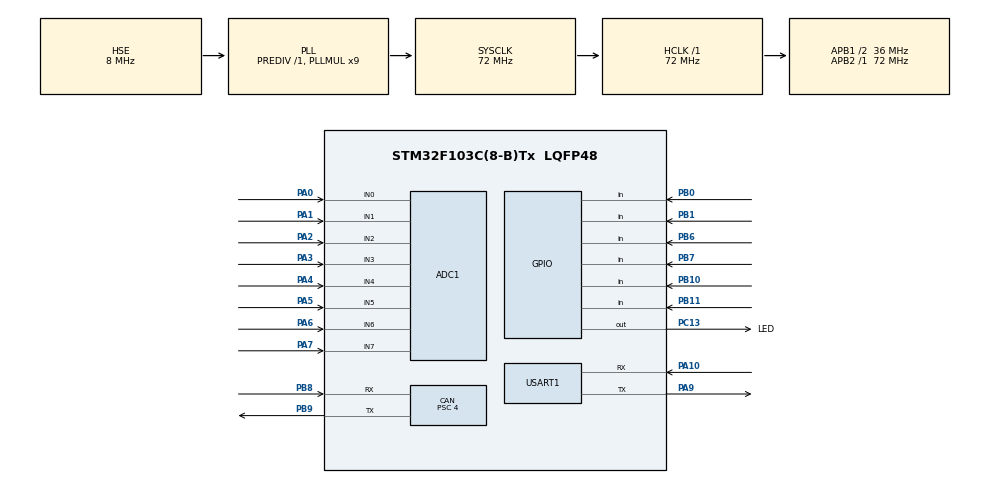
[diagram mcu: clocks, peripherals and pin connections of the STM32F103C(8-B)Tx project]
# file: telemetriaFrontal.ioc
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ADC1.Channel-0\#ChannelRegularConversion=ADC_CHANNEL_0
ADC1.Channel-1\#ChannelRegularConversion=ADC_CHANNEL_0
ADC1.Channel-2\#ChannelRegularConversion=ADC_CHANNEL_0
ADC1.Channel-3\#ChannelRegularConversion=ADC_CHANNEL_0
ADC1.Channel-4\#ChannelRegularConversion=ADC_CHANNEL_0
ADC1.Channel-5\#ChannelRegularConversion=ADC_CHANNEL_0
ADC1.Channel-6\#ChannelRegularConversion=ADC_CHANNEL_0
ADC1.Channel-7\#ChannelRegularConversion=ADC_CHANNEL_0
ADC1.ContinuousConvMode=DISABLE
ADC1.ExternalTrigConv=ADC_EXTERNALTRIGCONV_T3_TRGO
ADC1.NbrOfConversion=8
ADC1.NbrOfConversionFlag=1
ADC1.Rank-0\#ChannelRegularConversion=1
ADC1.Rank-1\#ChannelRegularConversion=2
ADC1.Rank-2\#ChannelRegularConversion=3
ADC1.Rank-3\#ChannelRegularConversion=4
ADC1.Rank-4\#ChannelRegularConversion=5
ADC1.Rank-5\#ChannelRegularConversion=6
ADC1.Rank-6\#ChannelRegularConversion=7
ADC1.Rank-7\#ChannelRegularConversion=8
ADC1.SamplingTime-0\#ChannelRegularConversion=ADC_SAMPLETIME_1CYCLE_5
ADC1.SamplingTime-1\#ChannelRegularConversion=ADC_SAMPLETIME_1CYCLE_5
ADC1.SamplingTime-2\#ChannelRegularConversion=ADC_SAMPLETIME_1CYCLE_5
ADC1.SamplingTime-3\#ChannelRegularConversion=ADC_SAMPLETIME_1CYCLE_5
ADC1.SamplingTime-4\#ChannelRegularConversion=ADC_SAMPLETIME_1CYCLE_5
ADC1.SamplingTime-5\#ChannelRegularConversion=ADC_SAMPLETIME_1CYCLE_5
ADC1.SamplingTime-6\#ChannelRegularConversion=ADC_SAMPLETIME_1CYCLE_5
ADC1.SamplingTime-7\#ChannelRegularConversion=ADC_SAMPLETIME_1CYCLE_5
ADC1.master=1
CAN.BS1=CAN_BS1_15TQ
CAN.BS2=CAN_BS2_2TQ
CAN.CalculateBaudRate=500000
CAN.CalculateTimeBit=2000
CAN.CalculateTimeQuantum=111.11111111111111
CAN.Prescaler=4
Dma.ADC1.0.Direction=DMA_PERIPH_TO_MEMORY
Dma.ADC1.0.Instance=DMA1_Channel1
Dma.ADC1.0.MemDataAlignment=DMA_MDATAALIGN_HALFWORD
Dma.ADC1.0.MemInc=DMA_MINC_ENABLE
Dma.ADC1.0.Mode=DMA_NORMAL
Dma.ADC1.0.PeriphDataAlignment=DMA_PDATAALIGN_HALFWORD
Dma.ADC1.0.PeriphInc=DMA_PINC_DISABLE
Dma.ADC1.0.Priority=DMA_PRIORITY_LOW
Dma.Request0=ADC1
Mcu.Family=STM32F1
Mcu.Name=STM32F103C(8-B)Tx
Mcu.Package=LQFP48
NVIC.ADC1_2_IRQn=true\:0\:0\:false\:false\:true\:true\:true\:true
NVIC.DMA1_Channel1_IRQn=true\:0\:0\:false\:false\:true\:false\:true\:true
NVIC.PriorityGroup=NVIC_PRIORITYGROUP_4
PA0-WKUP.Signal=ADCx_IN0
PA1.Signal=ADCx_IN1
PA10.Mode=Asynchronous
PA10.Signal=USART1_RX
PA13.Mode=Serial_Wire
PA13.Signal=SYS_JTMS-SWDIO
PA14.Mode=Serial_Wire
PA14.Signal=SYS_JTCK-SWCLK
PA2.Signal=ADCx_IN2
PA3.Signal=ADCx_IN3
PA4.Signal=ADCx_IN4
PA5.Signal=ADCx_IN5
PA6.Signal=ADCx_IN6
PA7.Signal=ADCx_IN7
PA9.Mode=Asynchronous
PA9.Signal=USART1_TX
PB0.GPIO_PuPd=GPIO_PULLDOWN
PB0.Signal=GPIO_Input
PB1.GPIO_PuPd=GPIO_PULLDOWN
PB1.Signal=GPIO_Input
PB10.GPIO_PuPd=GPIO_PULLDOWN
PB10.Signal=GPIO_Input
PB11.GPIO_PuPd=GPIO_PULLDOWN
PB11.Signal=GPIO_Input
PB6.GPIO_PuPd=GPIO_PULLDOWN
PB6.Signal=GPIO_Input
PB7.GPIO_PuPd=GPIO_PULLDOWN
PB7.Signal=GPIO_Input
PB8.Mode=CAN_Activate
PB8.Signal=CAN_RX
PB9.Mode=CAN_Activate
PB9.Signal=CAN_TX
PC13-TAMPER-RTC.GPIO_Label=LED
PC13-TAMPER-RTC.Signal=GPIO_Output
PD0-OSC_IN.Mode=HSE-External-Oscillator
PD0-OSC_IN.Signal=RCC_OSC_IN
PD1-OSC_OUT.Mode=HSE-External-Oscillator
PD1-OSC_OUT.Signal=RCC_OSC_OUT
ProjectManager.HeapSize=0x200
ProjectManager.StackSize=0x400
ProjectManager.TargetToolchain=STM32CubeIDE
RCC.ADCPresc=RCC_ADCPCLK2_DIV6
RCC.AHBFreq_Value=72000000
RCC.APB1CLKDivider=RCC_HCLK_DIV2
RCC.APB1Freq_Value=36000000
RCC.APB1TimFreq_Value=72000000
RCC.APB2Freq_Value=72000000
RCC.APB2TimFreq_Value=72000000
RCC.HCLKFreq_Value=72000000
RCC.PLLMUL=RCC_PLL_MUL9
RCC.PLLSourceVirtual=RCC_PLLSOURCE_HSE
RCC.SYSCLKFreq_VALUE=72000000
RCC.SYSCLKSource=RCC_SYSCLKSOURCE_PLLCLK
RCC.USBFreq_Value=72000000
SH.ADCx_IN0.0=ADC1_IN0,IN0
SH.ADCx_IN1.0=ADC1_IN1,IN1
SH.ADCx_IN2.0=ADC1_IN2,IN2
SH.ADCx_IN3.0=ADC1_IN3,IN3
SH.ADCx_IN4.0=ADC1_IN4,IN4
SH.ADCx_IN5.0=ADC1_IN5,IN5
SH.ADCx_IN6.0=ADC1_IN6,IN6
SH.ADCx_IN7.0=ADC1_IN7,IN7
TIM3.AutoReloadPreload=TIM_AUTORELOAD_PRELOAD_ENABLE
TIM3.Period=1000
TIM3.Prescaler=7200
TIM3.TIM_MasterOutputTrigger=TIM_TRGO_UPDATE
USART1.VirtualMode=VM_ASYNC
VP_TIM3_VS_ClockSourceINT.Mode=Internal
board=custom

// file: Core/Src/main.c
/* USER CODE BEGIN Header */
/* USER CODE END Header */
#include "main.h"

 ADC_HandleTypeDef hadc1;
DMA_HandleTypeDef hdma_adc1;

CAN_HandleTypeDef hcan;

TIM_HandleTypeDef htim3;

UART_HandleTypeDef huart1;

/* USER CODE BEGIN PV */
ADC_ChannelConfTypeDef sConfig = {0};
CAN_TxHeaderTypeDef TxHeader , TxHeader2;
/* USER CODE END PV */

void SystemClock_Config(void);
static void MX_GPIO_Init(void);
static void MX_DMA_Init(void);
static void MX_ADC1_Init(void);
static void MX_CAN_Init(void);
static void MX_USART1_UART_Init(void);
static void MX_TIM3_Init(void);
/* USER CODE BEGIN PFP */
uint16_t readADC(uint32_t channel)
{
	sConfig.Channel = channel;
	sConfig.Rank = 1;
	sConfig.SamplingTime = ADC_SAMPLETIME_1CYCLE_5;
	if (HAL_ADC_ConfigChannel(&hadc1, &sConfig) != HAL_OK)
	{
		Error_Handler();
	}
	HAL_ADC_Start(&hadc1);
	HAL_ADC_PollForConversion(&hadc1, 1);
	uint16_t out = HAL_ADC_GetValue(&hadc1);
	HAL_ADC_Stop(&hadc1);
	return out;
}
/* USER CODE END PFP */

/* USER CODE BEGIN 0 */
uint8_t TxData[8];
uint8_t TxData2[8];
uint32_t mailbox;
uint16_t tps1 = 0;
uint16_t tps2 = 0;
uint16_t pressao1 = 0;
uint16_t pressao2 = 0;
uint16_t pressao3 = 0;
uint16_t encoder = 0;
/* USER CODE END 0 */

int main(void)
{
  /* USER CODE BEGIN 1 */
	TxHeader.StdId = 0x0;
	TxHeader.ExtId = 0x0;
	TxHeader.IDE = CAN_ID_STD;
	TxHeader.RTR = CAN_RTR_DATA ;
	TxHeader.DLC = 8;
	TxHeader.TransmitGlobalTime = DISABLE;

	TxHeader2.StdId = 0x5;
	TxHeader2.ExtId = 0x0;
	TxHeader2.IDE = CAN_ID_STD;
	TxHeader2.RTR = CAN_RTR_DATA ;
	TxHeader2.DLC = 8;
	TxHeader2.TransmitGlobalTime = DISABLE;
  /* USER CODE END 1 */

  /* MCU Configuration--------------------------------------------------------*/

  /* Reset of all peripherals, Initializes the Flash interface and the Systick. */
  HAL_Init();

  /* Configure the system clock */
  SystemClock_Config();

  /* Initialize all configured peripherals */
  MX_GPIO_Init();
  MX_DMA_Init();
  MX_ADC1_Init();
  MX_CAN_Init();
  MX_USART1_UART_Init();
  MX_TIM3_Init();
  /* USER CODE BEGIN 2 */
  uint8_t inertia, bots, botao_shut, ready_to_drive;
  /* USER CODE END 2 */

  /* Infinite loop */
  /* USER CODE BEGIN WHILE */
	while (1)
	{
		tps1 = readADC(ADC_CHANNEL_3);
		tps2 = readADC(ADC_CHANNEL_4);
		pressao1 = readADC(ADC_CHANNEL_5);
		pressao2 = readADC(ADC_CHANNEL_6);
		pressao3 = readADC(ADC_CHANNEL_7);
		//encoder = readADC(ADC_CHANNEL_6);

		bots = HAL_GPIO_ReadPin(GPIOB , GPIO_PIN_0);
		botao_shut = HAL_GPIO_ReadPin(GPIOB , GPIO_PIN_1);
		inertia = HAL_GPIO_ReadPin(GPIOA, GPIO_PIN_7);
		ready_to_drive = HAL_GPIO_ReadPin(GPIOB, GPIO_PIN_11);
		TxData[0] = tps2 & 0x00FF;
		TxData[1] = tps2 >> 8;
		TxData[2] = tps1 & 0x00FF;
		TxData[3] = tps1 >> 8;
		TxData[4] = pressao1 & 0x00FF;
		TxData[5] = pressao1 >> 8;
		if(tps1>=20)
		{
			TxData[6] |= (1 << 0);
		}
		else
		{
			TxData[6] &= ~(1 << 0);
		}

		if(pressao1>=20)
		{
			TxData[6] |= (1 << 1);
		}
		else
		{
			TxData[6] &= ~(1 << 1);
		}

		if(ready_to_drive)
		{
			TxData[6] |= (1 << 2);
		}
		else
		{
			TxData[6] &= ~(1 << 2);
		}

		TxData[7] = 0x0;

		TxData2[0] = inertia << 7 | bots << 6 | botao_shut << 5;
		TxData2[1] = 0xEF;
		TxData2[2] = pressao2 & 0x00FF;
		TxData2[3] = pressao2 >> 8;
		TxData2[4] = pressao3 & 0x00FF;
		TxData2[5] = pressao3 >> 8;
		TxData2[6] = encoder & 0x00FF;
		TxData2[7] = encoder >> 8;

		uint16_t erro = HAL_CAN_AddTxMessage(&hcan , &TxHeader , TxData , &mailbox);
		uint16_t erro2 = HAL_CAN_AddTxMessage(&hcan , &TxHeader2 , TxData2 , &mailbox);
		if(erro || erro2)
		{

		}
		HAL_Delay(200);
	}
    /* USER CODE END WHILE */

}

void SystemClock_Config(void)
{
  RCC_OscInitTypeDef RCC_OscInitStruct = {0};
  RCC_ClkInitTypeDef RCC_ClkInitStruct = {0};
  RCC_PeriphCLKInitTypeDef PeriphClkInit = {0};

  /** Initializes the RCC Oscillators according to the specified parameters
  * in the RCC_OscInitTypeDef structure.
  */
  RCC_OscInitStruct.OscillatorType = RCC_OSCILLATORTYPE_HSE;
  RCC_OscInitStruct.HSEState = RCC_HSE_ON;
  RCC_OscInitStruct.HSEPredivValue = RCC_HSE_PREDIV_DIV1;
  RCC_OscInitStruct.HSIState = RCC_HSI_ON;
  RCC_OscInitStruct.PLL.PLLState = RCC_PLL_ON;
  RCC_OscInitStruct.PLL.PLLSource = RCC_PLLSOURCE_HSE;
  RCC_OscInitStruct.PLL.PLLMUL = RCC_PLL_MUL9;
  if (HAL_RCC_OscConfig(&RCC_OscInitStruct) != HAL_OK)
  {
    Error_Handler();
  }

  /** Initializes the CPU, AHB and APB buses clocks
  */
  RCC_ClkInitStruct.ClockType = RCC_CLOCKTYPE_HCLK|RCC_CLOCKTYPE_SYSCLK
                              |RCC_CLOCKTYPE_PCLK1|RCC_CLOCKTYPE_PCLK2;
  RCC_ClkInitStruct.SYSCLKSource = RCC_SYSCLKSOURCE_PLLCLK;
  RCC_ClkInitStruct.AHBCLKDivider = RCC_SYSCLK_DIV1;
  RCC_ClkInitStruct.APB1CLKDivider = RCC_HCLK_DIV2;
  RCC_ClkInitStruct.APB2CLKDivider = RCC_HCLK_DIV1;

  if (HAL_RCC_ClockConfig(&RCC_ClkInitStruct, FLASH_LATENCY_2) != HAL_OK)
  {
    Error_Handler();
  }
  PeriphClkInit.PeriphClockSelection = RCC_PERIPHCLK_ADC;
  PeriphClkInit.AdcClockSelection = RCC_ADCPCLK2_DIV6;
  if (HAL_RCCEx_PeriphCLKConfig(&PeriphClkInit) != HAL_OK)
  {
    Error_Handler();
  }
}

static void MX_ADC1_Init(void)
{

  ADC_ChannelConfTypeDef sConfig = {0};

  /** Common config
  */
  hadc1.Instance = ADC1;
  hadc1.Init.ScanConvMode = ADC_SCAN_ENABLE;
  hadc1.Init.ContinuousConvMode = DISABLE;
  hadc1.Init.DiscontinuousConvMode = DISABLE;
  hadc1.Init.ExternalTrigConv = ADC_EXTERNALTRIGCONV_T3_TRGO;
  hadc1.Init.DataAlign = ADC_DATAALIGN_RIGHT;
  hadc1.Init.NbrOfConversion = 8;
  if (HAL_ADC_Init(&hadc1) != HAL_OK)
  {
    Error_Handler();
  }

  /** Configure Regular Channel
  */
  sConfig.Channel = ADC_CHANNEL_0;
  sConfig.Rank = ADC_REGULAR_RANK_1;
  sConfig.SamplingTime = ADC_SAMPLETIME_1CYCLE_5;
  if (HAL_ADC_ConfigChannel(&hadc1, &sConfig) != HAL_OK)
  {
    Error_Handler();
  }

  /** Configure Regular Channel
  */
  sConfig.Rank = ADC_REGULAR_RANK_2;
  if (HAL_ADC_ConfigChannel(&hadc1, &sConfig) != HAL_OK)
  {
    Error_Handler();
  }

  /** Configure Regular Channel
  */
  sConfig.Rank = ADC_REGULAR_RANK_3;
  if (HAL_ADC_ConfigChannel(&hadc1, &sConfig) != HAL_OK)
  {
    Error_Handler();
  }

  /** Configure Regular Channel
  */
  sConfig.Rank = ADC_REGULAR_RANK_4;
  if (HAL_ADC_ConfigChannel(&hadc1, &sConfig) != HAL_OK)
  {
    Error_Handler();
  }

  /** Configure Regular Channel
  */
  sConfig.Rank = ADC_REGULAR_RANK_5;
  if (HAL_ADC_ConfigChannel(&hadc1, &sConfig) != HAL_OK)
  {
    Error_Handler();
  }

  /** Configure Regular Channel
  */
  sConfig.Rank = ADC_REGULAR_RANK_6;
  if (HAL_ADC_ConfigChannel(&hadc1, &sConfig) != HAL_OK)
  {
    Error_Handler();
  }

  /** Configure Regular Channel
  */
  sConfig.Rank = ADC_REGULAR_RANK_7;
  if (HAL_ADC_ConfigChannel(&hadc1, &sConfig) != HAL_OK)
  {
    Error_Handler();
  }

  /** Configure Regular Channel
  */
  sConfig.Rank = ADC_REGULAR_RANK_8;
  if (HAL_ADC_ConfigChannel(&hadc1, &sConfig) != HAL_OK)
  {
    Error_Handler();
  }

}

static void MX_CAN_Init(void)
{

  hcan.Instance = CAN1;
  hcan.Init.Prescaler = 4;
  hcan.Init.Mode = CAN_MODE_NORMAL;
  hcan.Init.SyncJumpWidth = CAN_SJW_1TQ;
  hcan.Init.TimeSeg1 = CAN_BS1_15TQ;
  hcan.Init.TimeSeg2 = CAN_BS2_2TQ;
  hcan.Init.TimeTriggeredMode = DISABLE;
  hcan.Init.AutoBusOff = DISABLE;
  hcan.Init.AutoWakeUp = DISABLE;
  hcan.Init.AutoRetransmission = DISABLE;
  hcan.Init.ReceiveFifoLocked = DISABLE;
  hcan.Init.TransmitFifoPriority = DISABLE;
  if (HAL_CAN_Init(&hcan) != HAL_OK)
  {
    Error_Handler();
  }
  /* USER CODE BEGIN CAN_Init 2 */
	CAN_FilterTypeDef sFilterConfig;
	sFilterConfig.FilterIdHigh = 0x0;
	sFilterConfig.FilterIdLow = 0x0;
	sFilterConfig.FilterMaskIdHigh = 0x0;
	sFilterConfig.FilterMaskIdLow = 0x0;
	sFilterConfig.FilterFIFOAssignment = CAN_RX_FIFO0;
	sFilterConfig.FilterBank = 0;
	sFilterConfig.FilterMode = CAN_FILTERMODE_IDMASK;
	sFilterConfig.FilterScale = CAN_FILTERSCALE_32BIT;
	sFilterConfig.FilterActivation = ENABLE;
	sFilterConfig.SlaveStartFilterBank = 14;
	if(HAL_CAN_ConfigFilter(&hcan , &sFilterConfig) != HAL_OK)
	{
	  Error_Handler();
	}
	if(HAL_CAN_Start(&hcan) != HAL_OK)
	{
	  Error_Handler();
	}
  /* USER CODE END CAN_Init 2 */

}

static void MX_TIM3_Init(void)
{

  TIM_ClockConfigTypeDef sClockSourceConfig = {0};
  TIM_MasterConfigTypeDef sMasterConfig = {0};

  htim3.Instance = TIM3;
  htim3.Init.Prescaler = 7200;
  htim3.Init.CounterMode = TIM_COUNTERMODE_UP;
  htim3.Init.Period = 1000;
  htim3.Init.ClockDivision = TIM_CLOCKDIVISION_DIV1;
  htim3.Init.AutoReloadPreload = TIM_AUTORELOAD_PRELOAD_ENABLE;
  if (HAL_TIM_Base_Init(&htim3) != HAL_OK)
  {
    Error_Handler();
  }
  sClockSourceConfig.ClockSource = TIM_CLOCKSOURCE_INTERNAL;
  if (HAL_TIM_ConfigClockSource(&htim3, &sClockSourceConfig) != HAL_OK)
  {
    Error_Handler();
  }
  sMasterConfig.MasterOutputTrigger = TIM_TRGO_UPDATE;
  sMasterConfig.MasterSlaveMode = TIM_MASTERSLAVEMODE_DISABLE;
  if (HAL_TIMEx_MasterConfigSynchronization(&htim3, &sMasterConfig) != HAL_OK)
  {
    Error_Handler();
  }

}

static void MX_USART1_UART_Init(void)
{

  huart1.Instance = USART1;
  huart1.Init.BaudRate = 115200;
  huart1.Init.WordLength = UART_WORDLENGTH_8B;
  huart1.Init.StopBits = UART_STOPBITS_1;
  huart1.Init.Parity = UART_PARITY_NONE;
  huart1.Init.Mode = UART_MODE_TX_RX;
  huart1.Init.HwFlowCtl = UART_HWCONTROL_NONE;
  huart1.Init.OverSampling = UART_OVERSAMPLING_16;
  if (HAL_UART_Init(&huart1) != HAL_OK)
  {
    Error_Handler();
  }

}

static void MX_DMA_Init(void)
{

  /* DMA controller clock enable */
  __HAL_RCC_DMA1_CLK_ENABLE();

  /* DMA interrupt init */
  /* DMA1_Channel1_IRQn interrupt configuration */
  HAL_NVIC_SetPriority(DMA1_Channel1_IRQn, 0, 0);
  HAL_NVIC_EnableIRQ(DMA1_Channel1_IRQn);

}

static void MX_GPIO_Init(void)
{
  GPIO_InitTypeDef GPIO_InitStruct = {0};

  /* GPIO Ports Clock Enable */
  __HAL_RCC_GPIOC_CLK_ENABLE();
  __HAL_RCC_GPIOD_CLK_ENABLE();
  __HAL_RCC_GPIOA_CLK_ENABLE();
  __HAL_RCC_GPIOB_CLK_ENABLE();

  /*Configure GPIO pin Output Level */
  HAL_GPIO_WritePin(LED_GPIO_Port, LED_Pin, GPIO_PIN_RESET);

  /*Configure GPIO pin : LED_Pin */
  GPIO_InitStruct.Pin = LED_Pin;
  GPIO_InitStruct.Mode = GPIO_MODE_OUTPUT_PP;
  GPIO_InitStruct.Pull = GPIO_NOPULL;
  GPIO_InitStruct.Speed = GPIO_SPEED_FREQ_LOW;
  HAL_GPIO_Init(LED_GPIO_Port, &GPIO_InitStruct);

  /*Configure GPIO pins : PB0 PB1 PB10 PB11
                           PB6 PB7 */
  GPIO_InitStruct.Pin = GPIO_PIN_0|GPIO_PIN_1|GPIO_PIN_10|GPIO_PIN_11
                          |GPIO_PIN_6|GPIO_PIN_7;
  GPIO_InitStruct.Mode = GPIO_MODE_INPUT;
  GPIO_InitStruct.Pull = GPIO_PULLDOWN;
  HAL_GPIO_Init(GPIOB, &GPIO_InitStruct);

}

void Error_Handler(void)
{
}
